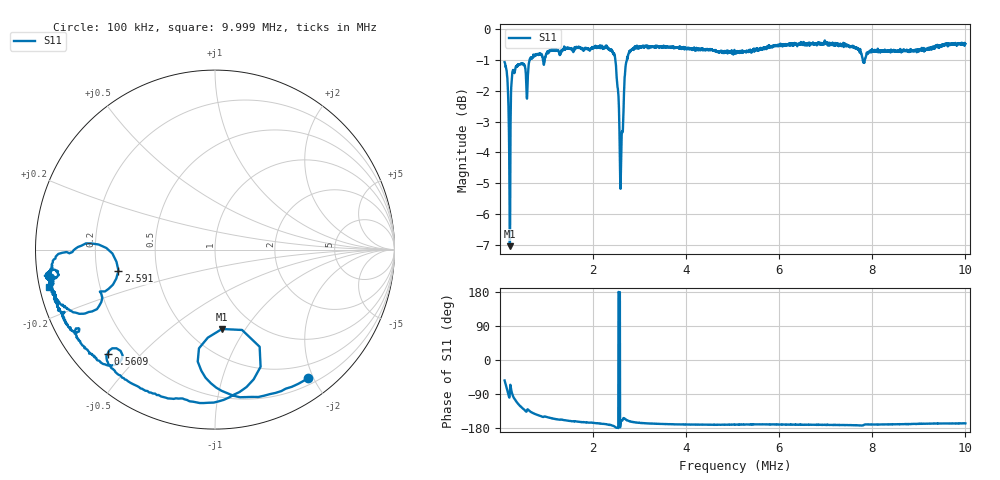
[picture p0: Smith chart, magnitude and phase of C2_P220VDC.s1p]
# HZ S RI R 50
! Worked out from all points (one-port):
!   2020 points, 100 kHz to 9.999 MHz, reference 50 ohm
!   lowest |S11| = -7.1 dB at 212.8 kHz (marker M1), VSWR 2.60, Z = 35.8 - j39.5 ohm
!   |S11| at or under -10 dB: nowhere
!   S11 on the Smith chart (normalised r, x): 100 kHz: 0.29, -1.92; 560.9 kHz: 0.11, -0.40; 2.591 MHz: 0.29, -0.10; 9.999 MHz: 0.03, -0.11
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100000  0.519 -0.7161
139224  0.2741 -0.8138
163739  0.1013 -0.8135
212769  0.0384 -0.4424
266702  -0.00762 -0.8524
305926  -0.1726 -0.8333
433404  -0.4558 -0.7501
511852  -0.5622 -0.6716
560882  -0.598 -0.5794
644233  -0.638 -0.6283
855062  -0.7647 -0.4941
1340459  -0.8546 -0.353
2419119  -0.9155 -0.1068
2487761  -0.8817 -0.0335
2531888  -0.8019 -0.0171
2576015  -0.6052 0.00893
2590724  -0.5377 -0.1177
2644657  -0.6335 -0.2925
2698590  -0.8011 -0.3415
2777038  -0.8717 -0.2966
2924128  -0.9004 -0.2429
3816474  -0.9199 -0.1681
5052030  -0.9027 -0.1501
6287586  -0.9353 -0.1532
7528045  -0.9286 -0.1369
7827128  -0.8704 -0.1423
8763601  -0.9032 -0.1712
9999157  -0.9236 -0.2094
